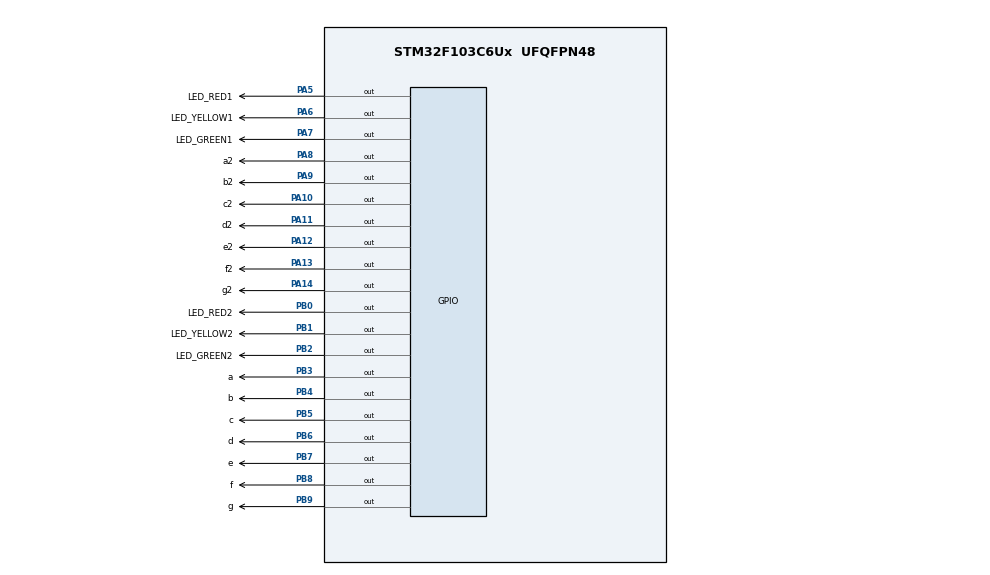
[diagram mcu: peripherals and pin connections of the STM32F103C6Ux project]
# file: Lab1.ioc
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Mcu.Family=STM32F1
Mcu.Name=STM32F103C6Ux
Mcu.Package=UFQFPN48
NVIC.PriorityGroup=NVIC_PRIORITYGROUP_4
PA10.GPIO_Label=c2
PA10.Signal=GPIO_Output
PA11.GPIO_Label=d2
PA11.Signal=GPIO_Output
PA12.GPIO_Label=e2
PA12.Signal=GPIO_Output
PA13.GPIO_Label=f2
PA13.Signal=GPIO_Output
PA14.GPIO_Label=g2
PA14.Signal=GPIO_Output
PA5.GPIO_Label=LED_RED1
PA5.Signal=GPIO_Output
PA6.GPIO_Label=LED_YELLOW1
PA6.Signal=GPIO_Output
PA7.GPIO_Label=LED_GREEN1
PA7.Signal=GPIO_Output
PA8.GPIO_Label=a2
PA8.Signal=GPIO_Output
PA9.GPIO_Label=b2
PA9.Signal=GPIO_Output
PB0.GPIO_Label=LED_RED2
PB0.Signal=GPIO_Output
PB1.GPIO_Label=LED_YELLOW2
PB1.Signal=GPIO_Output
PB2.GPIO_Label=LED_GREEN2
PB2.Signal=GPIO_Output
PB3.GPIO_Label=a
PB3.Signal=GPIO_Output
PB4.GPIO_Label=b
PB4.Signal=GPIO_Output
PB5.GPIO_Label=c
PB5.Signal=GPIO_Output
PB6.GPIO_Label=d
PB6.Signal=GPIO_Output
PB7.GPIO_Label=e
PB7.Signal=GPIO_Output
PB8.GPIO_Label=f
PB8.Signal=GPIO_Output
PB9.GPIO_Label=g
PB9.Signal=GPIO_Output
ProjectManager.HeapSize=0x200
ProjectManager.StackSize=0x400
ProjectManager.TargetToolchain=STM32CubeIDE
RCC.APB1Freq_Value=8000000
RCC.APB2Freq_Value=8000000
VP_SYS_VS_ND.Mode=No_Debug
board=custom

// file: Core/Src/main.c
/* USER CODE BEGIN Header */
/**
  ******************************************************************************
  * @file           : main.c
  * @brief          : Main program body
  ******************************************************************************
  * @attention
  *
  * <h2><center>&copy; Copyright (c) 2023 STMicroelectronics.
  * All rights reserved.</center></h2>
  *
  * This software component is licensed by ST under BSD 3-Clause license,
  * the "License"; You may not use this file except in compliance with the
  * License. You may obtain a copy of the License at:
  *                        opensource.org/licenses/BSD-3-Clause
  *
  ******************************************************************************
  */
/* USER CODE END Header */
#include "main.h"

void SystemClock_Config(void);
static void MX_GPIO_Init(void);

/* USER CODE BEGIN 0 */
enum TrafficLightStatus{
	red1_green2, red1_yellow2, green1_red2, yellow1_red2
};

enum SingleLightStatus{
	red, green, yellow
};

void TurnOnTrafficLight1(enum SingleLightStatus SLstate){
	switch(SLstate){
	case red:
		HAL_GPIO_WritePin(LED_RED1_GPIO_Port, LED_RED1_Pin, RESET);
		HAL_GPIO_WritePin(LED_YELLOW1_GPIO_Port, LED_YELLOW1_Pin, SET);
		HAL_GPIO_WritePin(LED_GREEN1_GPIO_Port, LED_GREEN1_Pin, SET);
		break;
	case yellow:
		HAL_GPIO_WritePin(LED_RED1_GPIO_Port, LED_RED1_Pin, SET);
		HAL_GPIO_WritePin(LED_YELLOW1_GPIO_Port, LED_YELLOW1_Pin, RESET);
		HAL_GPIO_WritePin(LED_GREEN1_GPIO_Port, LED_GREEN1_Pin, SET);
		break;
	case green:
		HAL_GPIO_WritePin(LED_RED1_GPIO_Port, LED_RED1_Pin, SET);
		HAL_GPIO_WritePin(LED_YELLOW1_GPIO_Port, LED_YELLOW1_Pin, SET);
		HAL_GPIO_WritePin(LED_GREEN1_GPIO_Port, LED_GREEN1_Pin, RESET);
		break;
	default:
		break;
	}
}

void TurnOnTrafficLight2(enum SingleLightStatus SLstate){
	switch(SLstate){
	case red:
		HAL_GPIO_WritePin(LED_RED2_GPIO_Port, LED_RED2_Pin, RESET);
		HAL_GPIO_WritePin(LED_YELLOW2_GPIO_Port, LED_YELLOW2_Pin, SET);
		HAL_GPIO_WritePin(LED_GREEN2_GPIO_Port, LED_GREEN2_Pin, SET);
		break;
	case yellow:
		HAL_GPIO_WritePin(LED_RED2_GPIO_Port, LED_RED2_Pin, SET);
		HAL_GPIO_WritePin(LED_YELLOW2_GPIO_Port, LED_YELLOW2_Pin, RESET);
		HAL_GPIO_WritePin(LED_GREEN2_GPIO_Port, LED_GREEN2_Pin, SET);
		break;
	case green:
		HAL_GPIO_WritePin(LED_RED2_GPIO_Port, LED_RED2_Pin, SET);
		HAL_GPIO_WritePin(LED_YELLOW2_GPIO_Port, LED_YELLOW2_Pin, SET);
		HAL_GPIO_WritePin(LED_GREEN2_GPIO_Port, LED_GREEN2_Pin, RESET);
		break;
	default:
		break;
	}
}

void display7SEG1(int num){
	switch (num) {
		case 0:
			HAL_GPIO_WritePin(a_GPIO_Port, a_Pin, RESET);
			HAL_GPIO_WritePin(b_GPIO_Port, b_Pin, RESET);
			HAL_GPIO_WritePin(c_GPIO_Port, c_Pin, RESET);
			HAL_GPIO_WritePin(d_GPIO_Port, d_Pin, RESET);
			HAL_GPIO_WritePin(e_GPIO_Port, e_Pin, RESET);
			HAL_GPIO_WritePin(f_GPIO_Port, f_Pin, RESET);
			HAL_GPIO_WritePin(g_GPIO_Port, g_Pin, SET);
			break;
		case 1:
			HAL_GPIO_WritePin(a_GPIO_Port, a_Pin, SET);
			HAL_GPIO_WritePin(b_GPIO_Port, b_Pin, RESET);
			HAL_GPIO_WritePin(c_GPIO_Port, c_Pin, RESET);
			HAL_GPIO_WritePin(d_GPIO_Port, d_Pin, SET);
			HAL_GPIO_WritePin(e_GPIO_Port, e_Pin, SET);
			HAL_GPIO_WritePin(f_GPIO_Port, f_Pin, SET);
			HAL_GPIO_WritePin(g_GPIO_Port, g_Pin, SET);
			break;
		case 2:
			HAL_GPIO_WritePin(a_GPIO_Port, a_Pin, RESET);
			HAL_GPIO_WritePin(b_GPIO_Port, b_Pin, RESET);
			HAL_GPIO_WritePin(c_GPIO_Port, c_Pin, SET);
			HAL_GPIO_WritePin(d_GPIO_Port, d_Pin, RESET);
			HAL_GPIO_WritePin(e_GPIO_Port, e_Pin, RESET);
			HAL_GPIO_WritePin(f_GPIO_Port, f_Pin, SET);
			HAL_GPIO_WritePin(g_GPIO_Port, g_Pin, RESET);
			break;
		case 3:
			HAL_GPIO_WritePin(a_GPIO_Port, a_Pin, RESET);
			HAL_GPIO_WritePin(b_GPIO_Port, b_Pin, RESET);
			HAL_GPIO_WritePin(c_GPIO_Port, c_Pin, RESET);
			HAL_GPIO_WritePin(d_GPIO_Port, d_Pin, RESET);
			HAL_GPIO_WritePin(e_GPIO_Port, e_Pin, SET);
			HAL_GPIO_WritePin(f_GPIO_Port, f_Pin, SET);
			HAL_GPIO_WritePin(g_GPIO_Port, g_Pin, RESET);
			break;
		case 4:
			HAL_GPIO_WritePin(a_GPIO_Port, a_Pin, SET);
			HAL_GPIO_WritePin(b_GPIO_Port, b_Pin, RESET);
			HAL_GPIO_WritePin(c_GPIO_Port, c_Pin, RESET);
			HAL_GPIO_WritePin(d_GPIO_Port, d_Pin, SET);
			HAL_GPIO_WritePin(e_GPIO_Port, e_Pin, SET);
			HAL_GPIO_WritePin(f_GPIO_Port, f_Pin, RESET);
			HAL_GPIO_WritePin(g_GPIO_Port, g_Pin, RESET);
			break;
		case 5:
			HAL_GPIO_WritePin(a_GPIO_Port, a_Pin, RESET);
			HAL_GPIO_WritePin(b_GPIO_Port, b_Pin, SET);
			HAL_GPIO_WritePin(c_GPIO_Port, c_Pin, RESET);
			HAL_GPIO_WritePin(d_GPIO_Port, d_Pin, RESET);
			HAL_GPIO_WritePin(e_GPIO_Port, e_Pin, SET);
			HAL_GPIO_WritePin(f_GPIO_Port, f_Pin, RESET);
			HAL_GPIO_WritePin(g_GPIO_Port, g_Pin, RESET);
			break;
		case 6:
			HAL_GPIO_WritePin(a_GPIO_Port, a_Pin, RESET);
			HAL_GPIO_WritePin(b_GPIO_Port, b_Pin, SET);
			HAL_GPIO_WritePin(c_GPIO_Port, c_Pin, RESET);
			HAL_GPIO_WritePin(d_GPIO_Port, d_Pin, RESET);
			HAL_GPIO_WritePin(e_GPIO_Port, e_Pin, RESET);
			HAL_GPIO_WritePin(f_GPIO_Port, f_Pin, RESET);
			HAL_GPIO_WritePin(g_GPIO_Port, g_Pin, RESET);
			break;
		case 7:
			HAL_GPIO_WritePin(a_GPIO_Port, a_Pin, RESET);
			HAL_GPIO_WritePin(b_GPIO_Port, b_Pin, RESET);
			HAL_GPIO_WritePin(c_GPIO_Port, c_Pin, RESET);
			HAL_GPIO_WritePin(d_GPIO_Port, d_Pin, SET);
			HAL_GPIO_WritePin(e_GPIO_Port, e_Pin, SET);
			HAL_GPIO_WritePin(f_GPIO_Port, f_Pin, SET);
			HAL_GPIO_WritePin(g_GPIO_Port, g_Pin, SET);
			break;
		case 8:
			HAL_GPIO_WritePin(a_GPIO_Port, a_Pin, RESET);
			HAL_GPIO_WritePin(b_GPIO_Port, b_Pin, RESET);
			HAL_GPIO_WritePin(c_GPIO_Port, c_Pin, RESET);
			HAL_GPIO_WritePin(d_GPIO_Port, d_Pin, RESET);
			HAL_GPIO_WritePin(e_GPIO_Port, e_Pin, RESET);
			HAL_GPIO_WritePin(f_GPIO_Port, f_Pin, RESET);
			HAL_GPIO_WritePin(g_GPIO_Port, g_Pin, RESET);
			break;
		case 9:
			HAL_GPIO_WritePin(a_GPIO_Port, a_Pin, RESET);
			HAL_GPIO_WritePin(b_GPIO_Port, b_Pin, RESET);
			HAL_GPIO_WritePin(c_GPIO_Port, c_Pin, RESET);
			HAL_GPIO_WritePin(d_GPIO_Port, d_Pin, RESET);
			HAL_GPIO_WritePin(e_GPIO_Port, e_Pin, SET);
			HAL_GPIO_WritePin(f_GPIO_Port, f_Pin, RESET);
			HAL_GPIO_WritePin(g_GPIO_Port, g_Pin, RESET);
			break;
		default:
			break;
	}
}

void display7SEG2(int num){
	switch (num) {
		case 0:
			HAL_GPIO_WritePin(a2_GPIO_Port, a2_Pin, RESET);
			HAL_GPIO_WritePin(b2_GPIO_Port, b2_Pin, RESET);
			HAL_GPIO_WritePin(c2_GPIO_Port, c2_Pin, RESET);
			HAL_GPIO_WritePin(d2_GPIO_Port, d2_Pin, RESET);
			HAL_GPIO_WritePin(e2_GPIO_Port, e2_Pin, RESET);
			HAL_GPIO_WritePin(f2_GPIO_Port, f2_Pin, RESET);
			HAL_GPIO_WritePin(g2_GPIO_Port, g2_Pin, SET);
			break;
		case 1:
			HAL_GPIO_WritePin(a2_GPIO_Port, a2_Pin, SET);
			HAL_GPIO_WritePin(b2_GPIO_Port, b2_Pin, RESET);
			HAL_GPIO_WritePin(c2_GPIO_Port, c2_Pin, RESET);
			HAL_GPIO_WritePin(d2_GPIO_Port, d2_Pin, SET);
			HAL_GPIO_WritePin(e2_GPIO_Port, e2_Pin, SET);
			HAL_GPIO_WritePin(f2_GPIO_Port, f2_Pin, SET);
			HAL_GPIO_WritePin(g2_GPIO_Port, g2_Pin, SET);
			break;
		case 2:
			HAL_GPIO_WritePin(a2_GPIO_Port, a2_Pin, RESET);
			HAL_GPIO_WritePin(b2_GPIO_Port, b2_Pin, RESET);
			HAL_GPIO_WritePin(c2_GPIO_Port, c2_Pin, SET);
			HAL_GPIO_WritePin(d2_GPIO_Port, d2_Pin, RESET);
			HAL_GPIO_WritePin(e2_GPIO_Port, e2_Pin, RESET);
			HAL_GPIO_WritePin(f2_GPIO_Port, f2_Pin, SET);
			HAL_GPIO_WritePin(g2_GPIO_Port, g2_Pin, RESET);
			break;
		case 3:
			HAL_GPIO_WritePin(a2_GPIO_Port, a2_Pin, RESET);
			HAL_GPIO_WritePin(b2_GPIO_Port, b2_Pin, RESET);
			HAL_GPIO_WritePin(c2_GPIO_Port, c2_Pin, RESET);
			HAL_GPIO_WritePin(d2_GPIO_Port, d2_Pin, RESET);
			HAL_GPIO_WritePin(e2_GPIO_Port, e2_Pin, SET);
			HAL_GPIO_WritePin(f2_GPIO_Port, f2_Pin, SET);
			HAL_GPIO_WritePin(g2_GPIO_Port, g2_Pin, RESET);
			break;
		case 4:
			HAL_GPIO_WritePin(a2_GPIO_Port, a2_Pin, SET);
			HAL_GPIO_WritePin(b2_GPIO_Port, b2_Pin, RESET);
			HAL_GPIO_WritePin(c2_GPIO_Port, c2_Pin, RESET);
			HAL_GPIO_WritePin(d2_GPIO_Port, d2_Pin, SET);
			HAL_GPIO_WritePin(e2_GPIO_Port, e2_Pin, SET);
			HAL_GPIO_WritePin(f2_GPIO_Port, f2_Pin, RESET);
			HAL_GPIO_WritePin(g2_GPIO_Port, g2_Pin, RESET);
			break;
		case 5:
			HAL_GPIO_WritePin(a2_GPIO_Port, a2_Pin, RESET);
			HAL_GPIO_WritePin(b2_GPIO_Port, b2_Pin, SET);
			HAL_GPIO_WritePin(c2_GPIO_Port, c2_Pin, RESET);
			HAL_GPIO_WritePin(d2_GPIO_Port, d2_Pin, RESET);
			HAL_GPIO_WritePin(e2_GPIO_Port, e2_Pin, SET);
			HAL_GPIO_WritePin(f2_GPIO_Port, f2_Pin, RESET);
			HAL_GPIO_WritePin(g2_GPIO_Port, g2_Pin, RESET);
			break;
		case 6:
			HAL_GPIO_WritePin(a2_GPIO_Port, a2_Pin, RESET);
			HAL_GPIO_WritePin(b2_GPIO_Port, b2_Pin, SET);
			HAL_GPIO_WritePin(c2_GPIO_Port, c2_Pin, RESET);
			HAL_GPIO_WritePin(d2_GPIO_Port, d2_Pin, RESET);
			HAL_GPIO_WritePin(e2_GPIO_Port, e2_Pin, RESET);
			HAL_GPIO_WritePin(f2_GPIO_Port, f2_Pin, RESET);
			HAL_GPIO_WritePin(g2_GPIO_Port, g2_Pin, RESET);
			break;
		case 7:
			HAL_GPIO_WritePin(a2_GPIO_Port, a2_Pin, RESET);
			HAL_GPIO_WritePin(b2_GPIO_Port, b2_Pin, RESET);
			HAL_GPIO_WritePin(c2_GPIO_Port, c2_Pin, RESET);
			HAL_GPIO_WritePin(d2_GPIO_Port, d2_Pin, SET);
			HAL_GPIO_WritePin(e2_GPIO_Port, e2_Pin, SET);
			HAL_GPIO_WritePin(f2_GPIO_Port, f2_Pin, SET);
			HAL_GPIO_WritePin(g2_GPIO_Port, g2_Pin, SET);
			break;
		case 8:
			HAL_GPIO_WritePin(a2_GPIO_Port, a2_Pin, RESET);
			HAL_GPIO_WritePin(b2_GPIO_Port, b2_Pin, RESET);
			HAL_GPIO_WritePin(c2_GPIO_Port, c2_Pin, RESET);
			HAL_GPIO_WritePin(d2_GPIO_Port, d2_Pin, RESET);
			HAL_GPIO_WritePin(e2_GPIO_Port, e2_Pin, RESET);
			HAL_GPIO_WritePin(f2_GPIO_Port, f2_Pin, RESET);
			HAL_GPIO_WritePin(g2_GPIO_Port, g2_Pin, RESET);
			break;
		case 9:
			HAL_GPIO_WritePin(a2_GPIO_Port, a2_Pin, RESET);
			HAL_GPIO_WritePin(b2_GPIO_Port, b2_Pin, RESET);
			HAL_GPIO_WritePin(c2_GPIO_Port, c2_Pin, RESET);
			HAL_GPIO_WritePin(d2_GPIO_Port, d2_Pin, RESET);
			HAL_GPIO_WritePin(e2_GPIO_Port, e2_Pin, SET);
			HAL_GPIO_WritePin(f2_GPIO_Port, f2_Pin, RESET);
			HAL_GPIO_WritePin(g2_GPIO_Port, g2_Pin, RESET);
			break;
		default:
			break;
	}
}
/* USER CODE END 0 */

int main(void)
{

  /* MCU Configuration--------------------------------------------------------*/

  /* Reset of all peripherals, Initializes the Flash interface and the Systick. */
  HAL_Init();

  /* Configure the system clock */
  SystemClock_Config();

  /* Initialize all configured peripherals */
  MX_GPIO_Init();

  /* Infinite loop */
  /* USER CODE BEGIN WHILE */
  int light1, light2, counter;
  enum TrafficLightStatus state = yellow1_red2;
  light2 = counter = 3;
  light1 = 5;
  while (1)
  {
	  if(counter <= 0){
		  switch(state){
		  case red1_green2:
			  state = red1_yellow2;
			  TurnOnTrafficLight1(red);
			  TurnOnTrafficLight2(yellow);
			  light2 = counter = 2;
			  break;
		  case red1_yellow2:
			  state = green1_red2;
			  TurnOnTrafficLight1(green);
			  TurnOnTrafficLight2(red);
			  light2 = 5;
			  light1 = counter = 3;
			  break;
		  case green1_red2:
			  state = yellow1_red2;
			  TurnOnTrafficLight1(yellow);
			  TurnOnTrafficLight2(red);
			  light1 = counter = 2;
			  break;
		  case yellow1_red2:
			  state = red1_green2;
			  TurnOnTrafficLight1(red);
			  TurnOnTrafficLight2(green);
			  light1 = 5;
			  light2 = counter = 3;
			  break;
		  }
	  }
	  counter--;
	  light1--;
	  light2--;
	  display7SEG1(light1);
	  display7SEG2(light2);
	  HAL_Delay(1000);
  }
  /* USER CODE END 3 */
}

void SystemClock_Config(void)
{
  RCC_OscInitTypeDef RCC_OscInitStruct = {0};
  RCC_ClkInitTypeDef RCC_ClkInitStruct = {0};

  /** Initializes the RCC Oscillators according to the specified parameters
  * in the RCC_OscInitTypeDef structure.
  */
  RCC_OscInitStruct.OscillatorType = RCC_OSCILLATORTYPE_HSI;
  RCC_OscInitStruct.HSIState = RCC_HSI_ON;
  RCC_OscInitStruct.HSICalibrationValue = RCC_HSICALIBRATION_DEFAULT;
  RCC_OscInitStruct.PLL.PLLState = RCC_PLL_NONE;
  if (HAL_RCC_OscConfig(&RCC_OscInitStruct) != HAL_OK)
  {
    Error_Handler();
  }
  /** Initializes the CPU, AHB and APB buses clocks
  */
  RCC_ClkInitStruct.ClockType = RCC_CLOCKTYPE_HCLK|RCC_CLOCKTYPE_SYSCLK
                              |RCC_CLOCKTYPE_PCLK1|RCC_CLOCKTYPE_PCLK2;
  RCC_ClkInitStruct.SYSCLKSource = RCC_SYSCLKSOURCE_HSI;
  RCC_ClkInitStruct.AHBCLKDivider = RCC_SYSCLK_DIV1;
  RCC_ClkInitStruct.APB1CLKDivider = RCC_HCLK_DIV1;
  RCC_ClkInitStruct.APB2CLKDivider = RCC_HCLK_DIV1;

  if (HAL_RCC_ClockConfig(&RCC_ClkInitStruct, FLASH_LATENCY_0) != HAL_OK)
  {
    Error_Handler();
  }
}

static void MX_GPIO_Init(void)
{
  GPIO_InitTypeDef GPIO_InitStruct = {0};

  /* GPIO Ports Clock Enable */
  __HAL_RCC_GPIOA_CLK_ENABLE();
  __HAL_RCC_GPIOB_CLK_ENABLE();

  /*Configure GPIO pin Output Level */
  HAL_GPIO_WritePin(GPIOA, LED_RED1_Pin|LED_YELLOW1_Pin|LED_GREEN1_Pin|a2_Pin
                          |b2_Pin|c2_Pin|d2_Pin|e2_Pin
                          |f2_Pin|g2_Pin, GPIO_PIN_RESET);

  /*Configure GPIO pin Output Level */
  HAL_GPIO_WritePin(GPIOB, LED_RED2_Pin|LED_YELLOW2_Pin|LED_GREEN2_Pin|a_Pin
                          |b_Pin|c_Pin|d_Pin|e_Pin
                          |f_Pin|g_Pin, GPIO_PIN_RESET);

  /*Configure GPIO pins : LED_RED1_Pin LED_YELLOW1_Pin LED_GREEN1_Pin a2_Pin
                           b2_Pin c2_Pin d2_Pin e2_Pin
                           f2_Pin g2_Pin */
  GPIO_InitStruct.Pin = LED_RED1_Pin|LED_YELLOW1_Pin|LED_GREEN1_Pin|a2_Pin
                          |b2_Pin|c2_Pin|d2_Pin|e2_Pin
                          |f2_Pin|g2_Pin;
  GPIO_InitStruct.Mode = GPIO_MODE_OUTPUT_PP;
  GPIO_InitStruct.Pull = GPIO_NOPULL;
  GPIO_InitStruct.Speed = GPIO_SPEED_FREQ_LOW;
  HAL_GPIO_Init(GPIOA, &GPIO_InitStruct);

  /*Configure GPIO pins : LED_RED2_Pin LED_YELLOW2_Pin LED_GREEN2_Pin a_Pin
                           b_Pin c_Pin d_Pin e_Pin
                           f_Pin g_Pin */
  GPIO_InitStruct.Pin = LED_RED2_Pin|LED_YELLOW2_Pin|LED_GREEN2_Pin|a_Pin
                          |b_Pin|c_Pin|d_Pin|e_Pin
                          |f_Pin|g_Pin;
  GPIO_InitStruct.Mode = GPIO_MODE_OUTPUT_PP;
  GPIO_InitStruct.Pull = GPIO_NOPULL;
  GPIO_InitStruct.Speed = GPIO_SPEED_FREQ_LOW;
  HAL_GPIO_Init(GPIOB, &GPIO_InitStruct);

}

void Error_Handler(void)
{
  __disable_irq();
  while (1)
  {
  }
}

/************************ (C) COPYRIGHT STMicroelectronics *****END OF FILE****/
